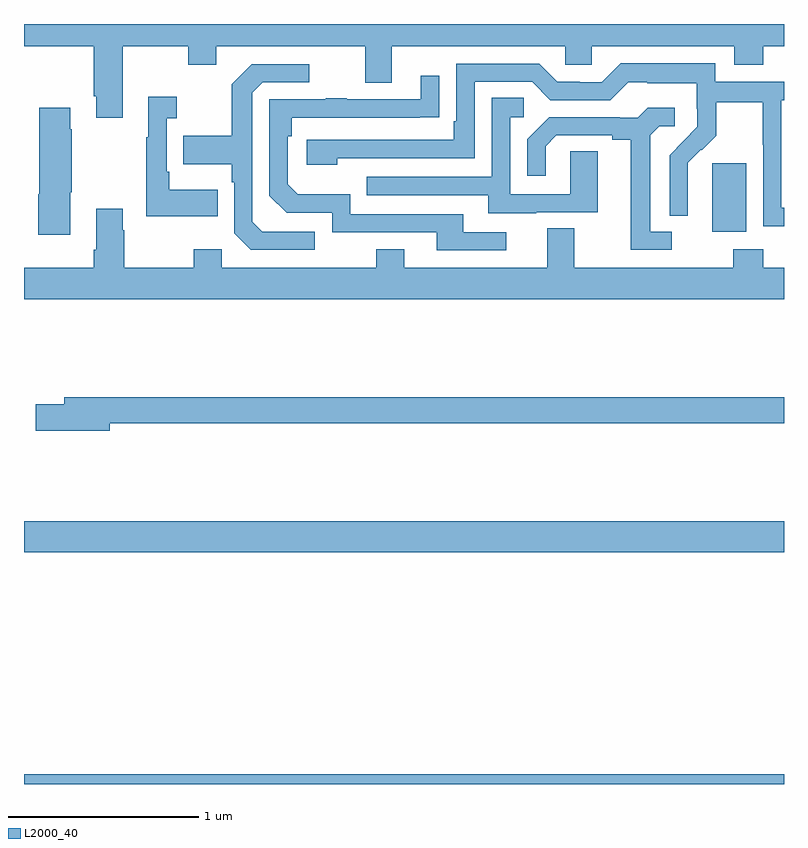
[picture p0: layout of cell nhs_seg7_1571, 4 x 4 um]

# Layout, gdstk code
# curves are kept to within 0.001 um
import gdstk
lib = gdstk.Library(unit=1e-6, precision=1e-09)
def R(c, l, rs):  # rectangles x0, y0, x1, y1
    for r in rs: c.add(gdstk.rectangle(r[:2], r[2:], *l))
def P(c, l, *ps):  # polygons
    for p in ps: c.add(gdstk.Polygon(p, *l))
L2000_40 = (2000, 40)

nhs_seg7_1571 = lib.new_cell('nhs_seg7_1571')
R(nhs_seg7_1571, L2000_40, [(217,1062,221,1062.052), (217,1063.22,221,1063.384), (220.622,1064.906,220.801,1065.267)])
P(nhs_seg7_1571, L2000_40, [(219.849,1065.786),(219.987,1065.786),(219.987,1065.884),(220.739,1065.884),(220.739,1065.785),(220.892,1065.785),(220.892,1065.884),(221,1065.884),(221,1066),(217,1066),(217,1065.884),(217.367,1065.884),(217.367,1065.619),(217.379,1065.619),(217.379,1065.507),(217.519,1065.507),(217.519,1065.884),(217.864,1065.884),(217.864,1065.785),(218.011,1065.785),(218.011,1065.884),(218.795,1065.884),(218.795,1065.69),(218.935,1065.69),(218.935,1065.884),(219.849,1065.884)],
  [(221,1065.033),(220.986,1065.033),(220.986,1065.6),(221,1065.6),(221,1065.696),(220.638,1065.696),(220.638,1065.793),(220.141,1065.793),(220.041,1065.693),(219.926,1065.693),(219.926,1065.696),(219.807,1065.696),(219.711,1065.792),(219.276,1065.792),(219.276,1065.487),(219.263,1065.487),(219.263,1065.39),(218.487,1065.39),(218.487,1065.26),(218.648,1065.26),(218.648,1065.294),(219.372,1065.294),(219.372,1065.696),(219.675,1065.696),(219.771,1065.6),(220.086,1065.6),(220.179,1065.693),(220.279,1065.693),(220.279,1065.689),(220.542,1065.689),(220.542,1065.555),(220.544,1065.555),(220.544,1065.458),(220.398,1065.31),(220.398,1064.992),(220.494,1064.992),(220.493,1065.269),(220.563,1065.339),(220.566,1065.336),(220.643,1065.413),(220.643,1065.588),(220.888,1065.588),(220.888,1065.364),(220.89,1065.364),(220.89,1064.935),(221,1064.935)],
  [(218.53,1064.907),(218.253,1064.907),(218.202,1064.958),(218.202,1065.639),(218.256,1065.693),(218.5,1065.693),(218.5,1065.789),(218.199,1065.789),(218.094,1065.683),(218.094,1065.411),(217.837,1065.411),(217.837,1065.263),(218.094,1065.263),(218.094,1065.167),(218.106,1065.167),(218.106,1064.898),(218.193,1064.811),(218.53,1064.811)],
  [(219.538,1064.904),(219.313,1064.904),(219.313,1065),(218.718,1065),(218.718,1065.103),(218.441,1065.103),(218.388,1065.156),(218.388,1065.41),(218.408,1065.41),(218.408,1065.507),(219.185,1065.508),(219.185,1065.727),(219.089,1065.727),(219.089,1065.603),(218.699,1065.603),(218.699,1065.608),(218.587,1065.608),(218.587,1065.603),(218.292,1065.603),(218.292,1065.096),(218.382,1065.006),(218.622,1065.006),(218.622,1064.904),(219.173,1064.904),(219.173,1064.808),(219.538,1064.808)],
  [(218.021,1065.127),(217.765,1065.127),(217.765,1065.223),(217.752,1065.223),(217.752,1065.503),(217.804,1065.503),(217.804,1065.616),(217.655,1065.616),(217.655,1065.403),(217.644,1065.403),(217.644,1064.987),(218.021,1064.987)],
  [(219.697,1065.009),(220.021,1065.009),(220.021,1065.329),(219.876,1065.329),(219.876,1065.105),(219.558,1065.105),(219.558,1065.51),(219.631,1065.51),(219.631,1065.611),(219.462,1065.611),(219.462,1065.195),(218.803,1065.195),(218.803,1065.099),(219.443,1065.099),(219.443,1065.005),(219.697,1065.005)],
  [(220.408,1064.907),(220.297,1064.907),(220.297,1065.415),(220.344,1065.462),(220.426,1065.462),(220.426,1065.559),(220.282,1065.559),(220.23,1065.507),(220.136,1065.507),(220.136,1065.51),(219.764,1065.51),(219.648,1065.394),(219.648,1065.201),(219.745,1065.201),(219.745,1065.357),(219.802,1065.414),(220.097,1065.414),(220.097,1065.392),(220.193,1065.392),(220.193,1064.811),(220.408,1064.811)],
  [(217.243,1065.115),(217.251,1065.115),(217.251,1065.446),(217.243,1065.446),(217.243,1065.559),(217.081,1065.559),(217.081,1065.104),(217.076,1065.104),(217.076,1064.892),(217.243,1064.892)],
  [(221,1064.716),(220.892,1064.716),(220.892,1064.815),(220.732,1064.815),(220.732,1064.716),(219.895,1064.716),(219.895,1064.924),(219.755,1064.924),(219.755,1064.716),(219.001,1064.716),(219.001,1064.815),(218.854,1064.815),(218.854,1064.716),(218.04,1064.716),(218.04,1064.815),(217.894,1064.815),(217.894,1064.716),(217.527,1064.716),(217.527,1064.915),(217.519,1064.915),(217.519,1065.028),(217.379,1065.028),(217.379,1064.812),(217.367,1064.812),(217.367,1064.716),(217,1064.716),(217,1064.552),(221,1064.552)],
  [(217.45,1063.9),(221,1063.9),(221,1064.036),(217.211,1064.036),(217.211,1064),(217.062,1064),(217.062,1063.858),(217.45,1063.858)])

lib.write_gds('nhs_seg7_1571.gds')
